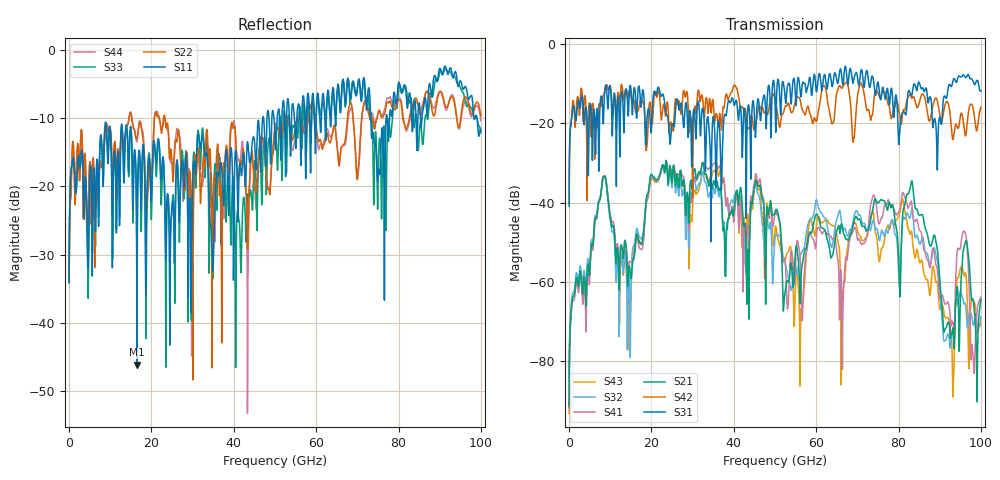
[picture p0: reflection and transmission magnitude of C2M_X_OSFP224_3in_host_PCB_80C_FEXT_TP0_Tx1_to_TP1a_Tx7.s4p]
# GHz S RI R 45
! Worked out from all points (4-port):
!   4000 points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, 25 MHz to 100 GHz, reference 45 ohm
!   strongest paths, dB at 25 MHz, 25.02 GHz, 50.02 GHz, 75.03 GHz, 100 GHz:
!     S31: -40.9, -20.4, -14.8, -9.7, -11.8
!     S42: -40.1, -20.8, -13.9, -12.3, -15.9
!     S21: -91.4, -34.7, -42.6, -40.1, -64.4
!     S41: -91.9, -33.0, -42.3, -44.4, -63.8
!     S32: -89.7, -36.0, -48.8, -47.6, -68.8
!     S43: -93.1, -34.1, -46.6, -52.1, -70.1
!   lowest |S11| = -46.1 dB at 16.48 GHz (marker M1), VSWR 1.01, Z = 44.8 + j0.402 ohm
!   |S11| at or under -10 dB: start of sweep to 47.03 GHz; 73.24 GHz to 76.98 GHz (3.735 GHz wide, 4.97 % of centre); 99.03 GHz to end of sweep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
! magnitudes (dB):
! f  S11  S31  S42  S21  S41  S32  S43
! 25 MHz  -34.1  -40.9  -40.1  -91.4  -91.9  -89.7  -93.1
! 8.475 GHz  -15.0  -16.0  -12.6  -33.4  -33.3  -33.5  -33.3
! 16.48 GHz  -46.1  -17.7  -17.2  -47.9  -48.7  -46.5  -47.2
! 66.12 GHz  -7.3  -7.2  -11.1  -45.3  -59.7  -44.8  -69.1
! 83.1 GHz  -8.9  -13.0  -13.5  -34.9  -39.6  -42.0  -47.2
! 91.25 GHz  -2.4  -13.2  -15.6  -72.1  -65.6  -74.7  -68.8
! 100 GHz  -11.8  -11.8  -15.9  -64.4  -63.8  -68.8  -70.1
